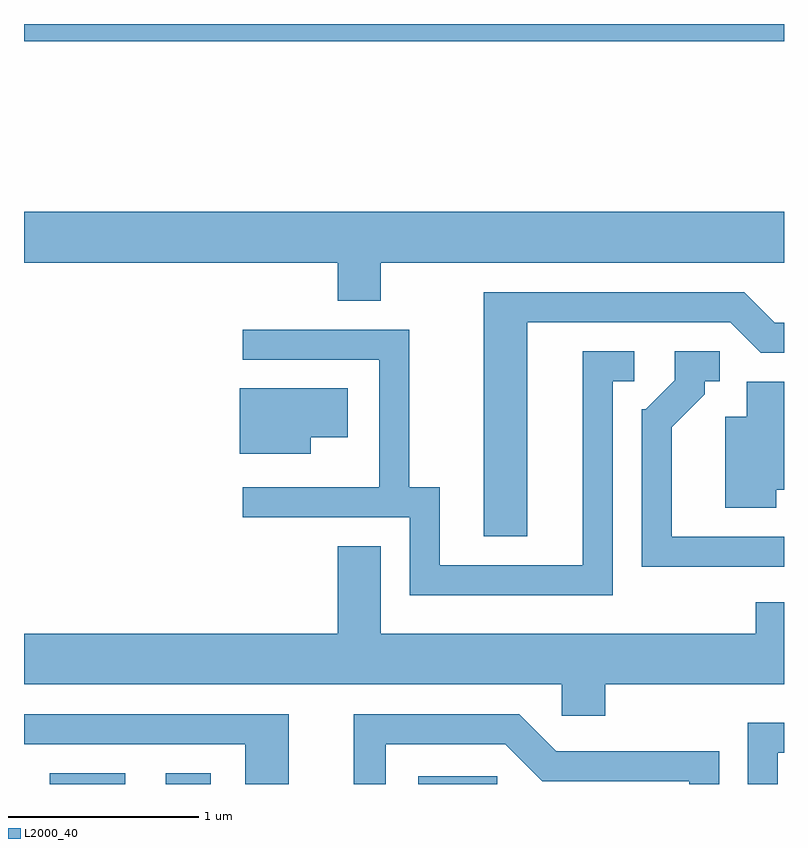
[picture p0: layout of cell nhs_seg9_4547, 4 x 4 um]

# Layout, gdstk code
import gdstk
lib = gdstk.Library(unit=1e-6, precision=1e-09)
def R(c, l, rs):  # rectangles x0, y0, x1, y1
    for r in rs: c.add(gdstk.rectangle(r[:2], r[2:], *l))
def P(c, l, *ps):  # polygons
    for p in ps: c.add(gdstk.Polygon(p, *l))
L2000_40 = (2000, 40)

nhs_seg9_4547 = lib.new_cell('nhs_seg9_4547')
R(nhs_seg9_4547, L2000_40, [(319.746,1962.432,320.143,1962.489), (320.356,1962.432,320.593,1962.489), (321.686,1962.432,322.103,1962.474), (319.611,1966.341,323.611,1966.432)])
P(nhs_seg9_4547, L2000_40, [(321.489,1965.176),(323.611,1965.176),(323.611,1965.444),(319.611,1965.444),(319.611,1965.176),(321.261,1965.176),(321.261,1964.976),(321.489,1964.976)],
  [(322.259,1964.861),(323.329,1964.861),(323.489,1964.701),(323.611,1964.701),(323.611,1964.859),(323.562,1964.859),(323.402,1965.019),(322.031,1965.019),(322.031,1963.736),(322.259,1963.736)],
  [(322.709,1964.551),(322.823,1964.551),(322.823,1964.709),(322.551,1964.709),(322.551,1963.584),(321.799,1963.584),(321.799,1963.994),(321.639,1963.994),(321.639,1964.824),(320.763,1964.824),(320.763,1964.666),(321.481,1964.666),(321.481,1963.994),(320.763,1963.994),(320.763,1963.836),(321.641,1963.836),(321.641,1963.426),(322.709,1963.426)],
  [(323.611,1963.734),(323.019,1963.734),(323.019,1964.309),(323.194,1964.484),(323.194,1964.551),(323.273,1964.551),(323.273,1964.709),(323.036,1964.709),(323.036,1964.557),(322.884,1964.404),(322.861,1964.404),(322.861,1963.576),(323.611,1963.576)],
  [(323.569,1963.981),(323.611,1963.981),(323.611,1964.549),(323.416,1964.549),(323.416,1964.364),(323.301,1964.364),(323.301,1963.886),(323.569,1963.886)],
  [(321.119,1964.256),(321.314,1964.256),(321.314,1964.514),(320.746,1964.514),(320.746,1964.171),(321.119,1964.171)],
  [(322.669,1962.956),(323.611,1962.956),(323.611,1963.389),(323.461,1963.389),(323.461,1963.224),(321.489,1963.224),(321.489,1963.684),(321.261,1963.684),(321.261,1963.224),(319.611,1963.224),(319.611,1962.956),(322.441,1962.956),(322.441,1962.791),(322.669,1962.791)],
  [(321.004,1962.799),(319.611,1962.799),(319.611,1962.641),(320.776,1962.641),(320.776,1962.432),(321.004,1962.432)],
  [(321.514,1962.641),(322.144,1962.641),(322.339,1962.446),(323.111,1962.446),(323.111,1962.432),(323.269,1962.432),(323.269,1962.604),(322.412,1962.604),(322.217,1962.799),(321.346,1962.799),(321.346,1962.432),(321.514,1962.432)],
  [(323.579,1962.596),(323.611,1962.596),(323.611,1962.754),(323.421,1962.754),(323.421,1962.432),(323.579,1962.432)])

lib.write_gds('nhs_seg9_4547.gds')
